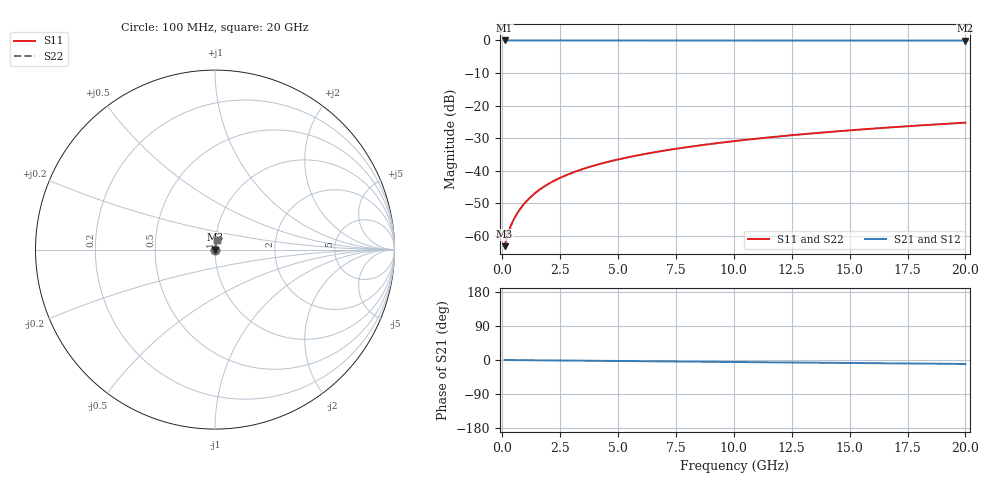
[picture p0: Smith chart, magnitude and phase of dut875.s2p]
! Touchstone file exported from HFSS 2026.1.0
!  File:  C:/ffzhzh/LocalFiles/Ansys_Project_Files/temp_train_TMRDL_875_1783157398_43440.aedt
!  Generated:  05:31:06 PM Jul  4, 2026
!  Design:  TMRDL
!  Project:  temp_train_TMRDL_875_1783157398_43440
! Variables:
!  h_bsmrdl = 2um
!  h_ox = 20um
!  h_rdl = 5um
!  h_sub = 80um
!  h_tmrdl = 5.39um
!  h_tsv = 80um
!  h_via = 3um
!  l_bsmrdl = 300um
!  l_sub = 556.34um
!  l_tmrdl = 156.34um
!  m_sub = 200um
!  pitch = 38.17um
!  r_tsv = 6um
!  s_tmrdl = 10um
!  w_bsmrdl = 18um
!  w_sub = 500um
!  w_tmrdl = 26.18um
!  x_tsv_center1 = 169.43um
!  x_tsv_center2 = 487.43um
!  x_tsv_center3 = 669.95um
!  x_tsv_center4 = 987.95um
!  x_tsv_center5 = 1170.47um
!  x_tsv_center6 = 1488.47um
# GHz S MA R 50.000000
! Terminal data exported
! Port[1] = TM_RDL1_1_T1
! Port[2] = TM_RDL1_1_T2
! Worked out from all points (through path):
!   200 points, 100 MHz to 20 GHz, reference 50 ohm
!   highest |S21| = 0.00 dB at 100 MHz (marker M1); lowest = 0.0 dB at 20 GHz (marker M2)
!   group delay of S21, straight-line fit = 1.45 ps
!   lowest |S11| = -63.2 dB at 100 MHz (marker M3), VSWR 1.00, Z = 50.1 + j0.0394 ohm
!   |S11| at or under -10 dB: start of sweep to end of sweep
!   |S22| runs from -63.2 to -25.3 dB; largest |S21 - S12| = 1.2e-14
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0.1  0.00069 34.8  0.9994 -0.1  0.9994 -0.1  0.00069 34.8
! Gamma 0 0 0 0
! Port Impedance 50 0 50 0
0.2  0.0009626 49.1  0.9994 -0.1  0.9994 -0.1  0.0009626 49.1
0.3  0.001234 56.8  0.9993 -0.2  0.9993 -0.2  0.001234 56.8
0.4  0.001507 62.1  0.9993 -0.2  0.9993 -0.2  0.001507 62.1
0.5  0.001788 66.0  0.9993 -0.3  0.9993 -0.3  0.001788 66.0
0.6  0.002075 68.9  0.9993 -0.3  0.9993 -0.3  0.002075 68.9
0.8  0.002662 72.9  0.9992 -0.4  0.9992 -0.4  0.002662 72.9
1  0.003259 75.3  0.9992 -0.5  0.9992 -0.5  0.003259 75.3
1.2  0.003861 76.9  0.9992 -0.7  0.9992 -0.7  0.003861 76.9
1.4  0.004464 78.0  0.9991 -0.8  0.9991 -0.8  0.004464 78.0
1.7  0.005367 79.1  0.9991 -0.9  0.9991 -0.9  0.005367 79.1
2.2  0.006859 80.0  0.9989 -1.2  0.9989 -1.2  0.006859 80.0
2.8  0.008621 80.5  0.9988 -1.5  0.9988 -1.5  0.008621 80.5
3.5  0.01064 80.7  0.9986 -1.9  0.9986 -1.9  0.01064 80.7
4.2  0.01261 80.7  0.9984 -2.3  0.9984 -2.3  0.01261 80.7
5  0.01484 80.6  0.9981 -2.7  0.9981 -2.7  0.01484 80.6
6.8  0.01975 80.3  0.9977 -3.6  0.9977 -3.6  0.01975 80.3
8.3  0.0238 79.9  0.9974 -4.4  0.9974 -4.4  0.0238 79.9
10.1  0.02861 79.4  0.997 -5.3  0.997 -5.3  0.02861 79.4
13.4  0.03735 78.3  0.9963 -7.0  0.9963 -7.0  0.03735 78.3
16.7  0.046 77.0  0.9955 -8.8  0.9955 -8.8  0.046 77.0
20  0.05454 75.6  0.9947 -10.5  0.9947 -10.5  0.05454 75.6
